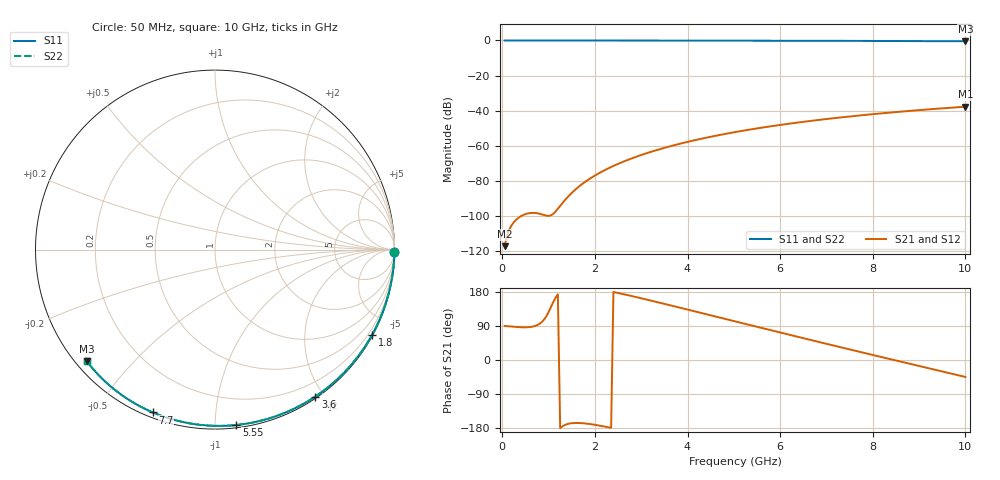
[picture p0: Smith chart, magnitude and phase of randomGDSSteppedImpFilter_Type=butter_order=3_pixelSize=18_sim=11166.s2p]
! freq	dB(S11)	phase(S11)	dB(S12)	phase(S12)
!  dB(S21)	phase(S21)	dB(S22)	phase(S22)
!S-par simulation data
#  GHz  S  DB  R 50
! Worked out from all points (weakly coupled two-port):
!   200 points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, 50 MHz to 10 GHz, reference 50 ohm
!   highest |S21| = -37.81 dB at 10 GHz (marker M1); lowest = -117.4 dB at 50 MHz (marker M2)
!   lowest |S11| = -0.5 dB at 10 GHz (marker M3), VSWR 36.87, Z = 1.55 - j18.7 ohm
!   |S11| at or under -10 dB: nowhere
!   |S22| runs from -0.5 to 0.0 dB; largest |S21 - S12| = 0
!   S11 on the Smith chart (normalised r, x): 50 MHz: open; 1.8 GHz: 0.03, -3.94; 3.6 GHz: 0.02, -1.89; 5.55 GHz: 0.02, -1.13; 7.7 GHz: 0.02, -0.69; 10 GHz: 0.03, -0.37
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0.05  -0.00 -0.8  -117.40 89.7  -117.40 89.7  -0.00 -0.8
0.45  -0.01 -7.2  -99.63 86.2  -99.63 86.2  -0.01 -7.2
0.9  -0.02 -14.4  -99.62 106.4  -99.62 106.4  -0.02 -14.4
1.75  -0.04 -27.7  -81.43 -167.0  -81.43 -167.0  -0.04 -27.7
1.8  -0.04 -28.5  -80.48 -167.6  -80.48 -167.6  -0.04 -28.5
1.85  -0.04 -29.3  -79.58 -168.3  -79.58 -168.3  -0.04 -29.3
2.05  -0.04 -32.4  -76.32 -172.0  -76.32 -172.0  -0.04 -32.4
2.25  -0.05 -35.5  -73.49 -176.7  -73.49 -176.7  -0.05 -35.5
2.55  -0.05 -40.0  -69.86 175.6  -69.86 175.6  -0.05 -40.0
2.95  -0.06 -46.1  -65.82 164.3  -65.82 164.3  -0.06 -46.1
3.4  -0.07 -52.8  -62.04 151.1  -62.04 151.1  -0.07 -52.7
3.6  -0.07 -55.7  -60.56 145.2  -60.56 145.2  -0.07 -55.7
3.9  -0.08 -60.0  -58.51 136.1  -58.51 136.1  -0.08 -60.0
4.3  -0.09 -65.8  -56.07 124.0  -56.07 124.0  -0.09 -65.8
5.05  -0.12 -76.3  -52.18 101.3  -52.18 101.3  -0.12 -76.3
5.55  -0.14 -83.1  -49.98 86.1  -49.98 86.1  -0.14 -83.1
6.1  -0.16 -90.4  -47.83 69.6  -47.83 69.6  -0.16 -90.4
6.7  -0.19 -98.2  -45.77 51.6  -45.77 51.6  -0.19 -98.2
7.7  -0.25 -110.9  -42.84 22.0  -42.84 22.0  -0.25 -110.9
8.35  -0.30 -118.9  -41.21 3.1  -41.21 3.1  -0.30 -118.9
9.2  -0.38 -129.3  -39.34 -21.6  -39.34 -21.6  -0.38 -129.3
10  -0.47 -139.0  -37.81 -44.8  -37.81 -44.8  -0.47 -139.0
